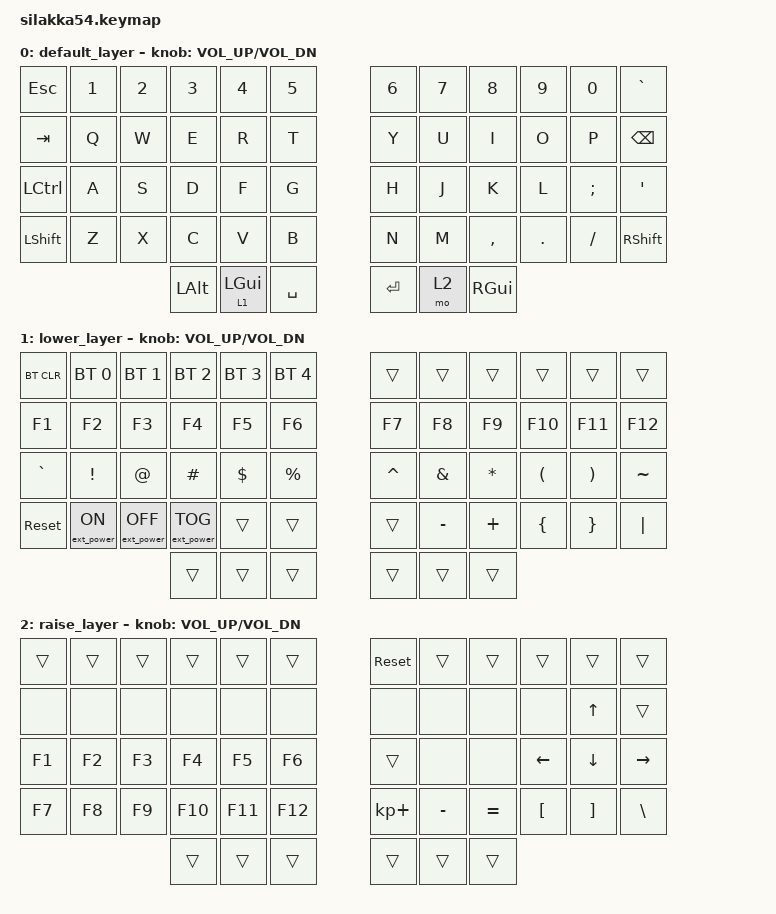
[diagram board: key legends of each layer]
/*
 * Copyright (c) 2020 The ZMK Contributors
 *
 * SPDX-License-Identifier: MIT
 */

#include <behaviors.dtsi>
#include <dt-bindings/zmk/bt.h>
#include <dt-bindings/zmk/ext_power.h>
#include <dt-bindings/zmk/keys.h>

/ {
    behaviors {
        cmdLayer: cmdLayer {
            compatible = "zmk,behavior-hold-tap";
            label = "CMDLAYER";
            bindings = <&mo>, <&kp>;

            #binding-cells = <2>;
            hold-trigger-key-positions = <49>;
            tapping-term-ms = <130>;
            flavor = "tap-preferred";
        };
    };

    keymap {
        compatible = "zmk,keymap";

        default_layer {
            // ------------------------------------------------------------------------------------------------------------
            // |  ESC  |  1  |  2  |  3   |  4   |  5   |                   |  6   |  7    |  8    |  9   |   0   |   `   |
            // |  TAB  |  Q  |  W  |  E   |  R   |  T   |                   |  Y   |  U    |  I    |  O   |   P   |   -   |
            // |  CTRL |  A  |  S  |  D   |  F   |  G   |                   |  H   |  J    |  K    |  L   |   ;   |   '   |
            // | SHIFT |  Z  |  X  |  C   |  V   |  B   |                   |  N   |  M    |  ,    |  .   |   /   | SHIFT |
            //                     | ALT  | GUI  | LOWER|                   | RAISE| BSPC  | GUI   |

            bindings = <
&kp ESC    &kp N1  &kp N2    &kp N3                &kp N4     &kp N5  &kp N6  &kp N7  &kp N8      &kp N9  &kp N0     &kp GRAVE
&kp TAB    &kp Q   &kp W     &kp E                 &kp R      &kp T   &kp Y   &kp U   &kp I       &kp O   &kp P      &kp BACKSPACE
&kp LCTRL  &kp A   &kp S     &kp D                 &kp F      &kp G   &kp H   &kp J   &kp K       &kp L   &kp SEMI   &kp SQT
&kp LSHFT  &kp Z   &kp X     &kp C                 &kp V      &kp B                   &kp N       &kp M   &kp COMMA  &kp DOT        &kp FSLH  &kp RSHFT
                   &kp LALT  &cmdLayer 1 LEFT_GUI  &kp SPACE                          &kp RETURN  &mo 2   &kp RGUI
            >;

            sensor-bindings = <&inc_dec_kp C_VOL_UP C_VOL_DN>;
        };

        lower_layer {
            // ------------------------------------------------------------------------------------------------------------
            // | BTCLR | BT1 | BT2 |  BT3 |  BT4 |  BT5 |                   |      |       |       |      |       |       |
            // |  F1   |  F2 |  F3 |  F4  |  F5  |  F6  |                   |  F7  |  F8   |  F9   |  F10 |  F11  |  F12  |
            // |   `   |  !  |  @  |  #   |  $   |  %   |                   |  ^   |  &    |  *    |  (   |   )   |   ~   |
            // |       |     |     |      |      |      |                   |      |  _    |  +    |  {   |   }   |  "|"  |
            //                     |      |      |      |                   |      |       |       |

            bindings = <
&bt BT_CLR  &bt BT_SEL 0      &bt BT_SEL 1       &bt BT_SEL 2       &bt BT_SEL 3  &bt BT_SEL 4  &trans     &trans    &trans     &trans     &trans    &trans
&kp F1      &kp F2            &kp F3             &kp F4             &kp F5        &kp F6        &kp F7     &kp F8    &kp F9     &kp F10    &kp F11   &kp F12
&kp GRAVE   &kp EXCL          &kp AT             &kp HASH           &kp DOLLAR    &kp PRCNT     &kp CARET  &kp AMPS  &kp ASTRK  &kp LPAR   &kp RPAR  &kp TILDE
&sys_reset  &ext_power EP_ON  &ext_power EP_OFF  &ext_power EP_TOG  &trans        &trans                             &trans     &kp MINUS  &kp PLUS  &kp LBRC   &kp RBRC  &kp PIPE
                              &trans             &trans             &trans                                           &trans     &trans     &trans
            >;

            sensor-bindings = <&inc_dec_kp C_VOL_UP C_VOL_DN>;
        };

        raise_layer {
            // ------------------------------------------------------------------------------------------------------------
            // |       |     |     |      |      |      |                   |      |       |       |      |       |       |
            // |   `   |  1  |  2  |  3   |  4   |  5   |                   |  6   |   7   |   8   |  9   |   0   |       |
            // |   F1  |  F2 |  F3 |  F4  |  F5  |  F6  |                   |      |   <-  |   v   |  ^   |  ->   |       |
            // |   F7  |  F8 |  F9 |  F10 |  F11 |  F12 |                   |  +   |   -   |   =   |  [   |   ]   |   \   |
            //                     |      |      |      |                   |      |       |       |

            bindings = <
&trans  &trans  &trans  &trans   &trans   &trans   &sys_reset  &trans  &trans       &trans          &trans          &trans
&none   &none   &none   &none    &none    &none    &none       &none   &none        &none           &kp UP_ARROW    &trans
&kp F1  &kp F2  &kp F3  &kp F4   &kp F5   &kp F6   &trans      &none   &none        &kp LEFT_ARROW  &kp DOWN_ARROW  &kp RIGHT_ARROW
&kp F7  &kp F8  &kp F9  &kp F10  &kp F11  &kp F12                      &kp KP_PLUS  &kp MINUS       &kp EQUAL       &kp LBKT         &kp RBKT  &kp BSLH
                &trans  &trans   &trans                                &trans       &trans          &trans
            >;

            sensor-bindings = <&inc_dec_kp C_VOL_UP C_VOL_DN>;
        };
    };
};
